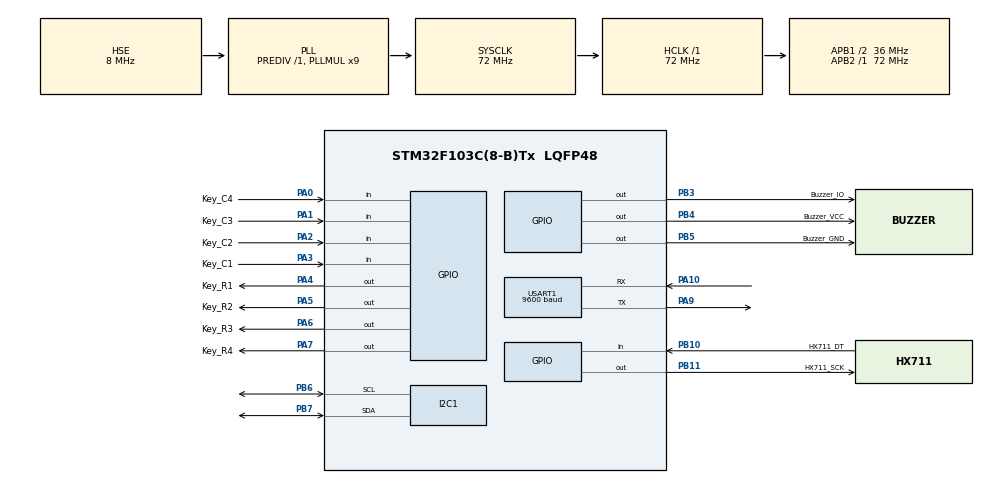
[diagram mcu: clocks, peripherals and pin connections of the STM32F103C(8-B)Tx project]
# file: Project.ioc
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Mcu.Family=STM32F1
Mcu.Name=STM32F103C(8-B)Tx
Mcu.Package=LQFP48
NVIC.PriorityGroup=NVIC_PRIORITYGROUP_4
PA0-WKUP.GPIO_Label=Key_C4
PA0-WKUP.GPIO_PuPd=GPIO_PULLUP
PA0-WKUP.Signal=GPIO_Input
PA1.GPIO_Label=Key_C3
PA1.GPIO_PuPd=GPIO_PULLUP
PA1.Signal=GPIO_Input
PA10.Mode=Asynchronous
PA10.Signal=USART1_RX
PA13.Mode=Serial_Wire
PA13.Signal=SYS_JTMS-SWDIO
PA14.Mode=Serial_Wire
PA14.Signal=SYS_JTCK-SWCLK
PA2.GPIO_Label=Key_C2
PA2.GPIO_PuPd=GPIO_PULLUP
PA2.Signal=GPIO_Input
PA3.GPIO_Label=Key_C1
PA3.GPIO_PuPd=GPIO_PULLUP
PA3.Signal=GPIO_Input
PA4.GPIO_Label=Key_R1
PA4.GPIO_Speed=GPIO_SPEED_FREQ_LOW
PA4.Signal=GPIO_Output
PA5.GPIO_Label=Key_R2
PA5.Signal=GPIO_Output
PA6.GPIO_Label=Key_R3
PA6.Signal=GPIO_Output
PA7.GPIO_Label=Key_R4
PA7.Signal=GPIO_Output
PA9.Mode=Asynchronous
PA9.Signal=USART1_TX
PB10.GPIO_Label=HX711_DT
PB10.GPIO_PuPd=GPIO_PULLUP
PB10.Signal=GPIO_Input
PB11.GPIO_Label=HX711_SCK
PB11.GPIO_Speed=GPIO_SPEED_FREQ_HIGH
PB11.PinState=GPIO_PIN_SET
PB11.Signal=GPIO_Output
PB3.GPIO_Label=Buzzer_IO
PB3.GPIO_PuPd=GPIO_PULLDOWN
PB3.GPIO_Speed=GPIO_SPEED_FREQ_HIGH
PB3.Signal=GPIO_Output
PB4.GPIO_Label=Buzzer_VCC
PB4.GPIO_PuPd=GPIO_PULLUP
PB4.GPIO_Speed=GPIO_SPEED_FREQ_HIGH
PB4.PinState=GPIO_PIN_SET
PB4.Signal=GPIO_Output
PB5.GPIO_Label=Buzzer_GND
PB5.GPIO_PuPd=GPIO_PULLDOWN
PB5.GPIO_Speed=GPIO_SPEED_FREQ_HIGH
PB5.Signal=GPIO_Output
PB6.Mode=I2C
PB6.Signal=I2C1_SCL
PB7.Mode=I2C
PB7.Signal=I2C1_SDA
PC14-OSC32_IN.Mode=LSE-External-Oscillator
PC14-OSC32_IN.Signal=RCC_OSC32_IN
PC15-OSC32_OUT.Mode=LSE-External-Oscillator
PC15-OSC32_OUT.Signal=RCC_OSC32_OUT
PD0-OSC_IN.Mode=HSE-External-Oscillator
PD0-OSC_IN.Signal=RCC_OSC_IN
PD1-OSC_OUT.Mode=HSE-External-Oscillator
PD1-OSC_OUT.Signal=RCC_OSC_OUT
ProjectManager.HeapSize=0x200
ProjectManager.StackSize=0x400
ProjectManager.TargetToolchain=MDK-ARM V5.32
RCC.AHBFreq_Value=72000000
RCC.APB1CLKDivider=RCC_HCLK_DIV2
RCC.APB1Freq_Value=36000000
RCC.APB1TimFreq_Value=72000000
RCC.APB2Freq_Value=72000000
RCC.APB2TimFreq_Value=72000000
RCC.HCLKFreq_Value=72000000
RCC.PLLMUL=RCC_PLL_MUL9
RCC.PLLSourceVirtual=RCC_PLLSOURCE_HSE
RCC.SYSCLKFreq_VALUE=72000000
RCC.SYSCLKSource=RCC_SYSCLKSOURCE_PLLCLK
RCC.USBFreq_Value=72000000
USART1.BaudRate=9600
USART1.VirtualMode=VM_ASYNC
board=custom

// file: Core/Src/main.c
/* USER CODE BEGIN Header */
/**
  ******************************************************************************
  * @file           : main.c
  * @brief          : Main program body
  ******************************************************************************
  * @attention
  *
  * Copyright (c) 2023 STMicroelectronics.
  * All rights reserved.
  *
  * This software is licensed under terms that can be found in the LICENSE file
  * in the root directory of this software component.
  * If no LICENSE file comes with this software, it is provided AS-IS.
  *
  ******************************************************************************
  */
/* USER CODE END Header */
#include "main.h"
#include "i2c.h"
#include "usart.h"
#include "gpio.h"

/* USER CODE BEGIN Includes */
#include "oled.h"
#include "hx711.h"
#include "keypad.h"
/* USER CODE END Includes */

void SystemClock_Config(void);

/* USER CODE BEGIN 0 */
extern uint8_t ReceiveBuff[BUFFERSIZE];
extern uint8_t rxEndFlag;
extern uint8_t rxLength;
extern uint32_t firstWeightValue;
extern uint32_t realWeightValue;
/* USER CODE END 0 */

int main(void)
{
  /* USER CODE BEGIN 1 */
	uint8_t x = 0;
	uint8_t y = 0;
	uint8_t barcodeNumberBuffer[15];
	double weightLimitValue = 10e3;
	uint8_t keyValue;
	uint8_t i = 0;
	uint8_t j = 1;
  /* USER CODE END 1 */

  /* MCU Configuration--------------------------------------------------------*/

  /* Reset of all peripherals, Initializes the Flash interface and the Systick. */
  HAL_Init();

  /* Configure the system clock */
  SystemClock_Config();

  /* Initialize all configured peripherals */
  MX_GPIO_Init();
  MX_I2C1_Init();
  MX_USART1_UART_Init();
  /* USER CODE BEGIN 2 */
	//weightFirstValue = HX711_ReadCount();
	OLED_Init();
	OLED_Clear();
	OLED_ShowChinese(x + 24 + 16 * 0, y + 2 * 0, 0);
	OLED_ShowChinese(x + 24 + 16 * 1, y + 2 * 0, 1);
	OLED_ShowChinese(x + 24 + 16 * 2, y + 2 * 0, 2);
	OLED_ShowChinese(x + 24 + 16 * 3, y + 2 * 0, 3);
	OLED_ShowChinese(x + 24 + 16 * 4, y + 2 * 0, 4);
	OLED_ShowChinese(x + 16 * 0, y + 2 * 2, 5);
	OLED_ShowChinese(x + 16 * 1, y + 2 * 2, 6);
	OLED_ShowChar(x + 16 * 2 + 8 * 0, y + 2 * 2, ':', 16);
	firstWeightValue = HX711_ReadCount();
  /* USER CODE END 2 */

  /* Infinite loop */
  /* USER CODE BEGIN WHILE */
  while (1)
  {
		realWeightValue = HX711_GetRealWeight();
		printf("%d\n", realWeightValue);

		OLED_ShowNum(x + 16 * 2 + 8 * 1, y + 2 * 2, realWeightValue, 5, 16);
		OLED_ShowChar(x + 16 * 2 + 8 * 6, y + 2 * 2, ' ', 16);
		OLED_ShowChar(x + 16 * 2 + 8 * 7, y + 2 * 2, 'g', 16);

		if(realWeightValue > weightLimitValue)
		{
			HAL_GPIO_WritePin(Buzzer_IO_GPIO_Port, Buzzer_IO_Pin, GPIO_PIN_SET);
		}
		else
		{
			HAL_GPIO_WritePin(Buzzer_IO_GPIO_Port, Buzzer_IO_Pin, GPIO_PIN_RESET);
		}
		/*
		if(i == 0)
		{
			keyValue = readKeypad();
			barcodeNumberBuffer[0] = keyValue;
			printf("%c\n", barcodeNumberBuffer[0]);
			i = 1;
		}
		else
		{
			if(barcodeNumberBuffer[0] == '*')
			{
				keyValue = readKeypad();
				switch(keyValue)
				{
					case '0':
						barcodeNumberBuffer[j] = '0';
						printf("%c\n", barcodeNumberBuffer[j]);
						j++;
					break;
					case '1':
						barcodeNumberBuffer[j] = '1';
						printf("%c\n", barcodeNumberBuffer[j]);
						j++;
					break;
					case '2':
						barcodeNumberBuffer[j] = '2';
						printf("%c\n", barcodeNumberBuffer[j]);
						j++;
					break;
					case '3':
						barcodeNumberBuffer[j] = '3';
						printf("%c\n", barcodeNumberBuffer[j]);
						j++;
					break;
					case '4':
						barcodeNumberBuffer[j] = '4';
						printf("%c\n", barcodeNumberBuffer[j]);
						j++;
					break;
					case '5':
						barcodeNumberBuffer[j] = '5';
						printf("%c\n", barcodeNumberBuffer[j]);
						j++;
					break;
					case '6':
						barcodeNumberBuffer[j] = '6';
						printf("%c\n", barcodeNumberBuffer[j]);
						j++;
					break;
					case '7':
						barcodeNumberBuffer[j] = '7';
						printf("%c\n", barcodeNumberBuffer[j]);
						j++;
					break;
					case '8':
						barcodeNumberBuffer[j] = '8';
						printf("%c\n", barcodeNumberBuffer[j]);
						j++;
					break;
					case '9':
						barcodeNumberBuffer[j] = '9';
						printf("%c\n", barcodeNumberBuffer[j]);
						j++;
					break;
					case '#':
						barcodeNumberBuffer[14] = '#';
						printf("%c\n", barcodeNumberBuffer[j]);
					break;
				}
			j = 1;
			}
		}
		if(barcodeNumberBuffer[14] == '#')
		{
			printf("%s\n", barcodeNumberBuffer);
		}
		*/
		HAL_Delay(1000);
    /* USER CODE END WHILE */

  }
}

void SystemClock_Config(void)
{
  RCC_OscInitTypeDef RCC_OscInitStruct = {0};
  RCC_ClkInitTypeDef RCC_ClkInitStruct = {0};

  /** Initializes the RCC Oscillators according to the specified parameters
  * in the RCC_OscInitTypeDef structure.
  */
  RCC_OscInitStruct.OscillatorType = RCC_OSCILLATORTYPE_HSE;
  RCC_OscInitStruct.HSEState = RCC_HSE_ON;
  RCC_OscInitStruct.HSEPredivValue = RCC_HSE_PREDIV_DIV1;
  RCC_OscInitStruct.HSIState = RCC_HSI_ON;
  RCC_OscInitStruct.PLL.PLLState = RCC_PLL_ON;
  RCC_OscInitStruct.PLL.PLLSource = RCC_PLLSOURCE_HSE;
  RCC_OscInitStruct.PLL.PLLMUL = RCC_PLL_MUL9;
  if (HAL_RCC_OscConfig(&RCC_OscInitStruct) != HAL_OK)
  {
    Error_Handler();
  }

  /** Initializes the CPU, AHB and APB buses clocks
  */
  RCC_ClkInitStruct.ClockType = RCC_CLOCKTYPE_HCLK|RCC_CLOCKTYPE_SYSCLK
                              |RCC_CLOCKTYPE_PCLK1|RCC_CLOCKTYPE_PCLK2;
  RCC_ClkInitStruct.SYSCLKSource = RCC_SYSCLKSOURCE_PLLCLK;
  RCC_ClkInitStruct.AHBCLKDivider = RCC_SYSCLK_DIV1;
  RCC_ClkInitStruct.APB1CLKDivider = RCC_HCLK_DIV2;
  RCC_ClkInitStruct.APB2CLKDivider = RCC_HCLK_DIV1;

  if (HAL_RCC_ClockConfig(&RCC_ClkInitStruct, FLASH_LATENCY_2) != HAL_OK)
  {
    Error_Handler();
  }
}

void Error_Handler(void)
{
  __disable_irq();
  while (1)
  {
  }
}
